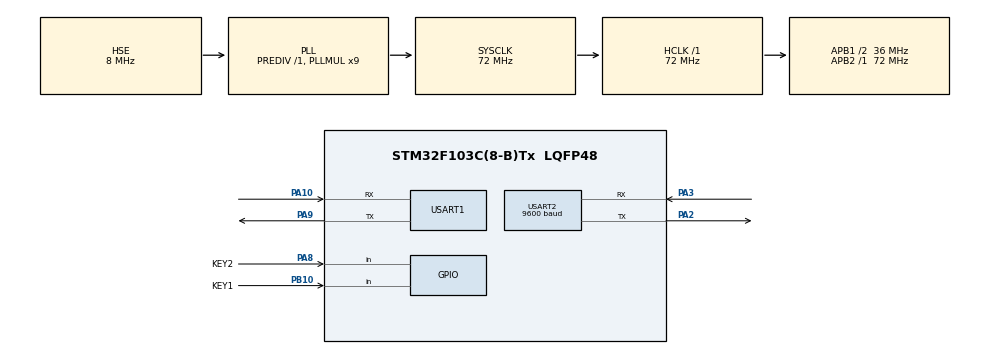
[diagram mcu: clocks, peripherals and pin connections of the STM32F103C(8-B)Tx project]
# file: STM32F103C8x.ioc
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Mcu.Family=STM32F1
Mcu.Name=STM32F103C(8-B)Tx
Mcu.Package=LQFP48
NVIC.PriorityGroup=NVIC_PRIORITYGROUP_4
NVIC.TIM2_IRQn=true\:1\:0\:true\:true\:true\:1\:true
NVIC.USART2_IRQn=true\:0\:0\:false\:true\:true\:2\:true
PA10.Mode=Asynchronous
PA10.Signal=USART1_RX
PA13.Mode=Serial_Wire
PA13.Signal=SYS_JTMS-SWDIO
PA14.Mode=Serial_Wire
PA14.Signal=SYS_JTCK-SWCLK
PA2.Mode=Asynchronous
PA2.Signal=USART2_TX
PA3.Mode=Asynchronous
PA3.Signal=USART2_RX
PA8.GPIO_Label=KEY2
PA8.Signal=GPIO_Input
PA9.Mode=Asynchronous
PA9.Signal=USART1_TX
PB10.GPIO_Label=KEY1
PB10.Signal=GPIO_Input
PD0-OSC_IN.Mode=HSE-External-Oscillator
PD0-OSC_IN.Signal=RCC_OSC_IN
PD1-OSC_OUT.Mode=HSE-External-Oscillator
PD1-OSC_OUT.Signal=RCC_OSC_OUT
ProjectManager.HeapSize=0x800
ProjectManager.StackSize=0x2000
ProjectManager.TargetToolchain=MDK-ARM V5
RCC.AHBFreq_Value=72000000
RCC.APB1CLKDivider=RCC_HCLK_DIV2
RCC.APB1Freq_Value=36000000
RCC.APB1TimFreq_Value=72000000
RCC.APB2Freq_Value=72000000
RCC.APB2TimFreq_Value=72000000
RCC.HCLKFreq_Value=72000000
RCC.PLLMUL=RCC_PLL_MUL9
RCC.PLLSourceVirtual=RCC_PLLSOURCE_HSE
RCC.SYSCLKFreq_VALUE=72000000
RCC.SYSCLKSource=RCC_SYSCLKSOURCE_PLLCLK
RCC.USBFreq_Value=72000000
TIM2.Period=10-1
TIM2.Prescaler=7200-1
USART1.VirtualMode=VM_ASYNC
USART2.BaudRate=9600
USART2.VirtualMode=VM_ASYNC
VP_TIM2_VS_ClockSourceINT.Mode=Internal
board=STM32F103C8x

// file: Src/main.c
/**
  ******************************************************************************
  * File Name          : main.c
  * Description        : Main program body
  ******************************************************************************
  ** This notice applies to any and all portions of this file
  * that are not between comment pairs USER CODE BEGIN and
  * USER CODE END. Other portions of this file, whether
  * inserted by the user or by software development tools
  * are owned by their respective copyright owners.
  *
  * COPYRIGHT(c) 2017 STMicroelectronics
  *
  * Redistribution and use in source and binary forms, with or without modification,
  * are permitted provided that the following conditions are met:
  *   1. Redistributions of source code must retain the above copyright notice,
  *      this list of conditions and the following disclaimer.
  *   2. Redistributions in binary form must reproduce the above copyright notice,
  *      this list of conditions and the following disclaimer in the documentation
  *      and/or other materials provided with the distribution.
  *   3. Neither the name of STMicroelectronics nor the names of its contributors
  *      may be used to endorse or promote products derived from this software
  *      without specific prior written permission.
  *
  * THIS SOFTWARE IS PROVIDED BY THE COPYRIGHT HOLDERS AND CONTRIBUTORS "AS IS"
  * AND ANY EXPRESS OR IMPLIED WARRANTIES, INCLUDING, BUT NOT LIMITED TO, THE
  * IMPLIED WARRANTIES OF MERCHANTABILITY AND FITNESS FOR A PARTICULAR PURPOSE ARE
  * DISCLAIMED. IN NO EVENT SHALL THE COPYRIGHT HOLDER OR CONTRIBUTORS BE LIABLE
  * FOR ANY DIRECT, INDIRECT, INCIDENTAL, SPECIAL, EXEMPLARY, OR CONSEQUENTIAL
  * DAMAGES (INCLUDING, BUT NOT LIMITED TO, PROCUREMENT OF SUBSTITUTE GOODS OR
  * SERVICES; LOSS OF USE, DATA, OR PROFITS; OR BUSINESS INTERRUPTION) HOWEVER
  * CAUSED AND ON ANY THEORY OF LIABILITY, WHETHER IN CONTRACT, STRICT LIABILITY,
  * OR TORT (INCLUDING NEGLIGENCE OR OTHERWISE) ARISING IN ANY WAY OUT OF THE USE
  * OF THIS SOFTWARE, EVEN IF ADVISED OF THE POSSIBILITY OF SUCH DAMAGE.
  *
  ******************************************************************************
  */
#include "main.h"
#include "stm32f1xx_hal.h"

/* USER CODE BEGIN Includes */

#include "gizwits_product.h"
#include "common.h"

#include "delay.h"
#include "hal_key.h"

/* USER CODE END Includes */

TIM_HandleTypeDef htim2;

UART_HandleTypeDef huart1;
UART_HandleTypeDef huart2;

/* USER CODE BEGIN PV */
/* Private variables ---------------------------------------------------------*/
#define GPIO_KEY_NUM 2 ///< Defines the total number of key member
keyTypedef_t singleKey[GPIO_KEY_NUM]; ///< Defines a single key member array pointer
keysTypedef_t keys;
/* USER CODE END PV */

void SystemClock_Config(void);
static void MX_GPIO_Init(void);
static void MX_TIM2_Init(void);
static void MX_USART1_UART_Init(void);
static void MX_USART2_UART_Init(void);
static void MX_NVIC_Init(void);

/* USER CODE BEGIN PFP */
/* Private function prototypes -----------------------------------------------*/

/* USER CODE END PFP */

/* USER CODE BEGIN 0 */
/**
* key1 short press handle
* @param none
* @return none
*/
void key1ShortPress(void)
{
    GIZWITS_LOG("KEY1 PRESS \n");//,Production Mode
    //gizwitsSetMode(WIFI_PRODUCTION_TEST);
}

/**
* key1 long press handle
* @param none
* @return none
*/
void key1LongPress(void)
{
    GIZWITS_LOG("KEY1 PRESS LONG ,Wifi Reset\n");
    gizwitsSetMode(WIFI_RESET_MODE);

}

/**
* key2 short press handle
* @param none
* @return none
*/
void key2ShortPress(void)
{
    GIZWITS_LOG("KEY2 PRESS ,\n");//Soft AP mode
    /*#if !MODULE_TYPE
    gizwitsSetMode(WIFI_SOFTAP_MODE);
    #endif*/
}

/**
* key2 long press handle
* @param none
* @return none
*/
void key2LongPress(void)
{
    //AirLink mode
    GIZWITS_LOG("KEY2 PRESS LONG ,AirLink mode\n");
#if !MODULE_TYPE
    gizwitsSetMode(WIFI_AIRLINK_MODE);
#endif
}

/**
* Key init function
* @param none
* @return none
*/
void keyInit(void)
{
    singleKey[0] = keyInitOne(NULL, KEY1_GPIO_Port, KEY1_Pin, key1ShortPress, key1LongPress);
    singleKey[1] = keyInitOne(NULL, KEY2_GPIO_Port, KEY2_Pin, key2ShortPress, key2LongPress);
    keys.singleKey = (keyTypedef_t *)&singleKey;
    keyParaInit(&keys);
}
/* USER CODE END 0 */

int main(void)
{

    /* USER CODE BEGIN 1 */
	uint8_t counter;
    /* USER CODE END 1 */

    /* MCU Configuration----------------------------------------------------------*/

    /* Reset of all peripherals, Initializes the Flash interface and the Systick. */
    HAL_Init();

    /* Configure the system clock */
    SystemClock_Config();

    /* Initialize all configured peripherals */
    MX_GPIO_Init();
    MX_TIM2_Init();
    MX_USART1_UART_Init();
    MX_USART2_UART_Init();

    /* Initialize interrupts */
    MX_NVIC_Init();

    /* USER CODE BEGIN 2 */
    timerInit();
    uartInit();
    keyInit();
    gizwitsInit();
    GIZWITS_LOG("MCU Init Success \n");

    userInit();

    /* USER CODE END 2 */

    /* Infinite loop */
    while (1)
    {
        /* USER CODE BEGIN 3 */
			//每5s获取一次当前时间
				for(counter=0;counter<10;counter++)
			{
					userHandle();
					gizwitsHandle((dataPoint_t *)&currentDataPoint);
			}
      gizwitsGetNTP();
			my_oled_hadler();

			for(counter=0;counter<40;counter++)
			{
					userHandle();
					gizwitsHandle((dataPoint_t *)&currentDataPoint);
			}
    }
    /* USER CODE END 3 */

}

/** System Clock Configuration
*/
void SystemClock_Config(void)
{

    RCC_OscInitTypeDef RCC_OscInitStruct;
    RCC_ClkInitTypeDef RCC_ClkInitStruct;

    /**Initializes the CPU, AHB and APB busses clocks
    */
    RCC_OscInitStruct.OscillatorType = RCC_OSCILLATORTYPE_HSE;
    RCC_OscInitStruct.HSEState = RCC_HSE_ON;
    RCC_OscInitStruct.HSEPredivValue = RCC_HSE_PREDIV_DIV1;
    RCC_OscInitStruct.HSIState = RCC_HSI_ON;
    RCC_OscInitStruct.PLL.PLLState = RCC_PLL_ON;
    RCC_OscInitStruct.PLL.PLLSource = RCC_PLLSOURCE_HSE;
    RCC_OscInitStruct.PLL.PLLMUL = RCC_PLL_MUL9;
    if (HAL_RCC_OscConfig(&RCC_OscInitStruct) != HAL_OK)
    {
        _Error_Handler(__FILE__, __LINE__);
    }

    /**Initializes the CPU, AHB and APB busses clocks
    */
    RCC_ClkInitStruct.ClockType = RCC_CLOCKTYPE_HCLK|RCC_CLOCKTYPE_SYSCLK
                                  |RCC_CLOCKTYPE_PCLK1|RCC_CLOCKTYPE_PCLK2;
    RCC_ClkInitStruct.SYSCLKSource = RCC_SYSCLKSOURCE_PLLCLK;
    RCC_ClkInitStruct.AHBCLKDivider = RCC_SYSCLK_DIV1;
    RCC_ClkInitStruct.APB1CLKDivider = RCC_HCLK_DIV2;
    RCC_ClkInitStruct.APB2CLKDivider = RCC_HCLK_DIV1;

    if (HAL_RCC_ClockConfig(&RCC_ClkInitStruct, FLASH_LATENCY_2) != HAL_OK)
    {
        _Error_Handler(__FILE__, __LINE__);
    }

    /**Configure the Systick interrupt time
    */
    HAL_SYSTICK_Config(HAL_RCC_GetHCLKFreq()/1000);

    /**Configure the Systick
    */
    HAL_SYSTICK_CLKSourceConfig(SYSTICK_CLKSOURCE_HCLK);

    /* SysTick_IRQn interrupt configuration */
    HAL_NVIC_SetPriority(SysTick_IRQn, 0, 0);
}

/** NVIC Configuration
*/
static void MX_NVIC_Init(void)
{
    /* TIM2_IRQn interrupt configuration */
    HAL_NVIC_SetPriority(TIM2_IRQn, 1, 0);
    HAL_NVIC_EnableIRQ(TIM2_IRQn);
    /* USART2_IRQn interrupt configuration */
    HAL_NVIC_SetPriority(USART2_IRQn, 0, 0);
    HAL_NVIC_EnableIRQ(USART2_IRQn);
}

/* TIM2 init function */
static void MX_TIM2_Init(void)
{

    TIM_ClockConfigTypeDef sClockSourceConfig;
    TIM_MasterConfigTypeDef sMasterConfig;

    htim2.Instance = TIM2;
    htim2.Init.Prescaler = 7200-1;
    htim2.Init.CounterMode = TIM_COUNTERMODE_UP;
    htim2.Init.Period = 10-1;
    htim2.Init.ClockDivision = TIM_CLOCKDIVISION_DIV1;
    htim2.Init.AutoReloadPreload = TIM_AUTORELOAD_PRELOAD_DISABLE;
    if (HAL_TIM_Base_Init(&htim2) != HAL_OK)
    {
        _Error_Handler(__FILE__, __LINE__);
    }

    sClockSourceConfig.ClockSource = TIM_CLOCKSOURCE_INTERNAL;
    if (HAL_TIM_ConfigClockSource(&htim2, &sClockSourceConfig) != HAL_OK)
    {
        _Error_Handler(__FILE__, __LINE__);
    }

    sMasterConfig.MasterOutputTrigger = TIM_TRGO_RESET;
    sMasterConfig.MasterSlaveMode = TIM_MASTERSLAVEMODE_DISABLE;
    if (HAL_TIMEx_MasterConfigSynchronization(&htim2, &sMasterConfig) != HAL_OK)
    {
        _Error_Handler(__FILE__, __LINE__);
    }

}

/* USART1 init function */
static void MX_USART1_UART_Init(void)
{

    huart1.Instance = USART1;
    huart1.Init.BaudRate = 115200;
    huart1.Init.WordLength = UART_WORDLENGTH_8B;
    huart1.Init.StopBits = UART_STOPBITS_1;
    huart1.Init.Parity = UART_PARITY_NONE;
    huart1.Init.Mode = UART_MODE_TX_RX;
    huart1.Init.HwFlowCtl = UART_HWCONTROL_NONE;
    huart1.Init.OverSampling = UART_OVERSAMPLING_16;
    if (HAL_UART_Init(&huart1) != HAL_OK)
    {
        _Error_Handler(__FILE__, __LINE__);
    }

}

/* USART2 init function */
static void MX_USART2_UART_Init(void)
{

    huart2.Instance = USART2;
    huart2.Init.BaudRate = 9600;
    huart2.Init.WordLength = UART_WORDLENGTH_8B;
    huart2.Init.StopBits = UART_STOPBITS_1;
    huart2.Init.Parity = UART_PARITY_NONE;
    huart2.Init.Mode = UART_MODE_TX_RX;
    huart2.Init.HwFlowCtl = UART_HWCONTROL_NONE;
    huart2.Init.OverSampling = UART_OVERSAMPLING_16;
    if (HAL_UART_Init(&huart2) != HAL_OK)
    {
        _Error_Handler(__FILE__, __LINE__);
    }

}

/** Configure pins as
        * Analog
        * Input
        * Output
        * EVENT_OUT
        * EXTI
*/
static void MX_GPIO_Init(void)
{

    GPIO_InitTypeDef GPIO_InitStruct;

    /* GPIO Ports Clock Enable */
    __HAL_RCC_GPIOD_CLK_ENABLE();
    __HAL_RCC_GPIOA_CLK_ENABLE();
    __HAL_RCC_GPIOB_CLK_ENABLE();
    __HAL_RCC_GPIOC_CLK_ENABLE();

    /*Configure GPIO pin : KEY1_Pin */
    GPIO_InitStruct.Pin = KEY1_Pin;
    GPIO_InitStruct.Mode = GPIO_MODE_INPUT;
    GPIO_InitStruct.Pull = GPIO_NOPULL;
    HAL_GPIO_Init(KEY1_GPIO_Port, &GPIO_InitStruct);

    /*Configure GPIO pin : KEY2_Pin */
    GPIO_InitStruct.Pin = KEY2_Pin;
    GPIO_InitStruct.Mode = GPIO_MODE_INPUT;
    GPIO_InitStruct.Pull = GPIO_NOPULL;
    HAL_GPIO_Init(KEY2_GPIO_Port, &GPIO_InitStruct);

}

void _Error_Handler(char * file, int line)
{
    while(1)
    {
    }
}

/************************ (C) COPYRIGHT STMicroelectronics *****END OF FILE****/
